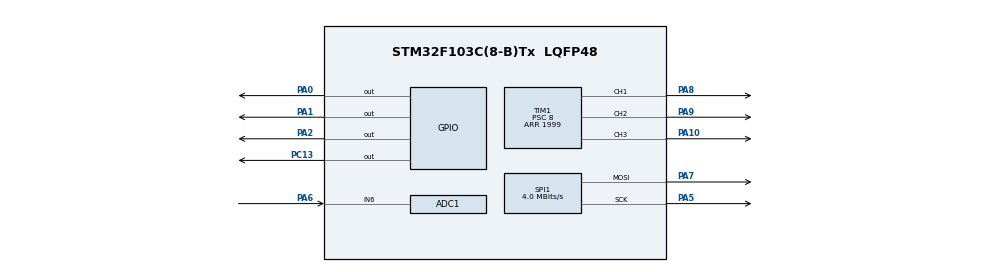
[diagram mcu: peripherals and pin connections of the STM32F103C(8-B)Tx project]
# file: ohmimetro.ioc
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ADC1.Channel-15\#ChannelRegularConversion=ADC_CHANNEL_6
ADC1.ContinuousConvMode=DISABLE
ADC1.DataAlign=ADC_DATAALIGN_RIGHT
ADC1.DiscontinuousConvMode=DISABLE
ADC1.EnableAnalogWatchDog=false
ADC1.EnableRegularConversion=ENABLE
ADC1.ExternalTrigConv=ADC_SOFTWARE_START
ADC1.InjNumberOfConversion=0
ADC1.NbrOfConversion=1
ADC1.NbrOfConversionFlag=1
ADC1.Rank-15\#ChannelRegularConversion=1
ADC1.SamplingTime-15\#ChannelRegularConversion=ADC_SAMPLETIME_1CYCLE_5
ADC1.ScanConvMode=ADC_SCAN_DISABLE
ADC1.master=1
Mcu.Family=STM32F1
Mcu.Name=STM32F103C(8-B)Tx
Mcu.Package=LQFP48
NVIC.PriorityGroup=NVIC_PRIORITYGROUP_4
PA0-WKUP.Signal=GPIO_Output
PA1.Signal=GPIO_Output
PA10.Signal=S_TIM1_CH3
PA13.Mode=Serial_Wire
PA13.Signal=SYS_JTMS-SWDIO
PA14.Mode=Serial_Wire
PA14.Signal=SYS_JTCK-SWCLK
PA2.Signal=GPIO_Output
PA5.Mode=TX_Only_Simplex_Unidirect_Master
PA5.Signal=SPI1_SCK
PA6.Signal=ADCx_IN6
PA7.Mode=TX_Only_Simplex_Unidirect_Master
PA7.Signal=SPI1_MOSI
PA8.Signal=S_TIM1_CH1
PA9.Signal=S_TIM1_CH2
PC13-TAMPER-RTC.Signal=GPIO_Output
PD0-OSC_IN.Mode=HSE-External-Oscillator
PD0-OSC_IN.Signal=RCC_OSC_IN
PD1-OSC_OUT.Mode=HSE-External-Oscillator
PD1-OSC_OUT.Signal=RCC_OSC_OUT
ProjectManager.HeapSize=0x200
ProjectManager.StackSize=0x400
ProjectManager.TargetToolchain=TrueSTUDIO
RCC.APB1Freq_Value=8000000
RCC.APB2Freq_Value=8000000
SH.ADCx_IN6.0=ADC1_IN6,IN6
SH.S_TIM1_CH1.0=TIM1_CH1,PWM Generation1 CH1
SH.S_TIM1_CH2.0=TIM1_CH2,PWM Generation2 CH2
SH.S_TIM1_CH3.0=TIM1_CH3,PWM Generation3 CH3
SPI1.CLKPhase=SPI_PHASE_2EDGE
SPI1.CLKPolarity=SPI_POLARITY_HIGH
SPI1.CalculateBaudRate=4.0 MBits/s
SPI1.Direction=SPI_DIRECTION_2LINES
SPI1.Mode=SPI_MODE_MASTER
SPI1.VirtualType=VM_MASTER
TIM1.Channel-PWM\ Generation1\ CH1=TIM_CHANNEL_1
TIM1.Channel-PWM\ Generation2\ CH2=TIM_CHANNEL_2
TIM1.Channel-PWM\ Generation3\ CH3=TIM_CHANNEL_3
TIM1.Period=1999
TIM1.Prescaler=8
board=ohmimetro

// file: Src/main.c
/**
  ******************************************************************************
  * File Name          : main.c
  * Description        : Main program body
  ******************************************************************************
  ** This notice applies to any and all portions of this file
  * that are not between comment pairs USER CODE BEGIN and
  * USER CODE END. Other portions of this file, whether
  * inserted by the user or by software development tools
  * are owned by their respective copyright owners.
  *
  * COPYRIGHT(c) 2017 STMicroelectronics
  *
  * Redistribution and use in source and binary forms, with or without modification,
  * are permitted provided that the following conditions are met:
  *   1. Redistributions of source code must retain the above copyright notice,
  *      this list of conditions and the following disclaimer.
  *   2. Redistributions in binary form must reproduce the above copyright notice,
  *      this list of conditions and the following disclaimer in the documentation
  *      and/or other materials provided with the distribution.
  *   3. Neither the name of STMicroelectronics nor the names of its contributors
  *      may be used to endorse or promote products derived from this software
  *      without specific prior written permission.
  *
  * THIS SOFTWARE IS PROVIDED BY THE COPYRIGHT HOLDERS AND CONTRIBUTORS "AS IS"
  * AND ANY EXPRESS OR IMPLIED WARRANTIES, INCLUDING, BUT NOT LIMITED TO, THE
  * IMPLIED WARRANTIES OF MERCHANTABILITY AND FITNESS FOR A PARTICULAR PURPOSE ARE
  * DISCLAIMED. IN NO EVENT SHALL THE COPYRIGHT HOLDER OR CONTRIBUTORS BE LIABLE
  * FOR ANY DIRECT, INDIRECT, INCIDENTAL, SPECIAL, EXEMPLARY, OR CONSEQUENTIAL
  * DAMAGES (INCLUDING, BUT NOT LIMITED TO, PROCUREMENT OF SUBSTITUTE GOODS OR
  * SERVICES; LOSS OF USE, DATA, OR PROFITS; OR BUSINESS INTERRUPTION) HOWEVER
  * CAUSED AND ON ANY THEORY OF LIABILITY, WHETHER IN CONTRACT, STRICT LIABILITY,
  * OR TORT (INCLUDING NEGLIGENCE OR OTHERWISE) ARISING IN ANY WAY OUT OF THE USE
  * OF THIS SOFTWARE, EVEN IF ADVISED OF THE POSSIBILITY OF SUCH DAMAGE.
  *
  ******************************************************************************
  */

#include "main.h"
#include "stm32f1xx_hal.h"
#include "adc.h"
#include "spi.h"
#include "tim.h"
#include "gpio.h"

/* USER CODE BEGIN Includes */
#include <OledChar.h>
#include <OledDriver.h>
#include <OledGrph.h>
#include <stdio.h>
#include <stdlib.h>
#include <string.h>
/* USER CODE END Includes */

/* USER CODE BEGIN PV */
/* Private variables ---------------------------------------------------------*/

/* USER CODE END PV */

void SystemClock_Config(void);

/* USER CODE BEGIN PFP */
/* Private function prototypes -----------------------------------------------*/

/* USER CODE END PFP */

/* USER CODE BEGIN 0 */
extern const char tabelaad[4096][5];
int R_fixa = 218;        // Resistência fixa do divisor de tensão
int leitura = 0;           // Armazena o valor lido pela entrada analógica (valor entre 0 e 4096)
int resultado = 0;
int Vx;
char string_r[20];
int duas_casas;
int tres_casas;
int quatro_casas;
/* USER CODE END 0 */

int main(void)
{

  /* MCU Configuration----------------------------------------------------------*/

  /* Reset of all peripherals, Initializes the Flash interface and the Systick. */
  HAL_Init();

  /* Configure the system clock */
  SystemClock_Config();

  /* Initialize all configured peripherals */
  MX_GPIO_Init();
  MX_SPI1_Init();
  MX_ADC1_Init();
  MX_TIM1_Init();

  /* USER CODE BEGIN 2 */
  OledInit();
  HAL_TIM_PWM_Start(&htim1, TIM_CHANNEL_1); // Inicializa os timers para geração da PWM nos pinos A8, A9, A10
  HAL_TIM_PWM_Start(&htim1, TIM_CHANNEL_2);
  HAL_TIM_PWM_Start(&htim1, TIM_CHANNEL_3);
  HAL_ADC_Start(&hadc1);

  /* USER CODE END 2 */

  /* Infinite loop */
  while (1)
  {

  /* USER CODE BEGIN 3 */

	  OledSetCursor(0,0);
	  leitura = HAL_ADC_GetValue(&hadc1); //pino A6
	  char tensao[4] = {tabelaad[leitura][0],tabelaad[leitura][1],tabelaad[leitura][2],tabelaad[leitura][3]};
	  Vx = atoi(tensao);
	  resultado = (int)(((3290*R_fixa)/Vx) - R_fixa);
	  duas_casas = (int)((((3290*R_fixa)/Vx) - R_fixa) -((((3290*R_fixa)/Vx) - R_fixa)*10/100));
	  tres_casas = (int)((((3290*R_fixa)/Vx) - R_fixa) -((((3290*R_fixa)/Vx) - R_fixa)*7/100));
	  quatro_casas = (int)((((3290*R_fixa)/Vx) - R_fixa) -((((3290*R_fixa)/Vx) + R_fixa)*20/100));
	  if (resultado >= 0){
		  OledPutString("Resistencia: ");
		  if (resultado > 0 & resultado < 100){
			  sprintf(string_r,"%d",resultado);
			  OledSetCursor(0,2);
			  OledPutString(string_r);
		  }
		  else if (resultado >= 100 & resultado < 1000){
			  sprintf(string_r,"%d",tres_casas);
			  OledSetCursor(0,2);
			  OledPutString(string_r);
		  }
		  else if (resultado >= 1000 & resultado < 10000){
			  sprintf(string_r,"%d",quatro_casas);
			  OledSetCursor(0,2);
			  OledPutString(string_r);
		  }
//		  sprintf(string_r,"%d",resultado);
//		  OledSetCursor(0,2);
//		  OledPutString(string_r);
		  OledPutString(" Ohms");
		 }

	  else
		  OledPutString("Circuito aberto");
	  if(resultado >=1100 & resultado <= 1300){
		  //__HAL_TIM_SetCompare(&htim1, TIM_CHANNEL_3, 200);]
		  _HAL_TIM_SET_COMPARE(&htim1, TIM_CHANNEL_3, 200);
		  HAL_Delay(5000);
	  }

//	  OledPutChar(tabelaad[leitura][0]);
//	  OledPutString(".");
//	  OledPutChar(tabelaad[leitura][1]);
//	  OledPutChar(tabelaad[leitura][2]);
//	  OledPutChar(tabelaad[leitura][3]);
	  HAL_Delay(2000);
	  OledClear();

  }
  /* USER CODE END 3 */

}

/** System Clock Configuration
*/
void SystemClock_Config(void)
{

  RCC_OscInitTypeDef RCC_OscInitStruct;
  RCC_ClkInitTypeDef RCC_ClkInitStruct;
  RCC_PeriphCLKInitTypeDef PeriphClkInit;

    /**Initializes the CPU, AHB and APB busses clocks
    */
  RCC_OscInitStruct.OscillatorType = RCC_OSCILLATORTYPE_HSI;
  RCC_OscInitStruct.HSIState = RCC_HSI_ON;
  RCC_OscInitStruct.HSICalibrationValue = 16;
  RCC_OscInitStruct.PLL.PLLState = RCC_PLL_NONE;
  if (HAL_RCC_OscConfig(&RCC_OscInitStruct) != HAL_OK)
  {
    _Error_Handler(__FILE__, __LINE__);
  }

    /**Initializes the CPU, AHB and APB busses clocks
    */
  RCC_ClkInitStruct.ClockType = RCC_CLOCKTYPE_HCLK|RCC_CLOCKTYPE_SYSCLK
                              |RCC_CLOCKTYPE_PCLK1|RCC_CLOCKTYPE_PCLK2;
  RCC_ClkInitStruct.SYSCLKSource = RCC_SYSCLKSOURCE_HSI;
  RCC_ClkInitStruct.AHBCLKDivider = RCC_SYSCLK_DIV1;
  RCC_ClkInitStruct.APB1CLKDivider = RCC_HCLK_DIV1;
  RCC_ClkInitStruct.APB2CLKDivider = RCC_HCLK_DIV1;

  if (HAL_RCC_ClockConfig(&RCC_ClkInitStruct, FLASH_LATENCY_0) != HAL_OK)
  {
    _Error_Handler(__FILE__, __LINE__);
  }

  PeriphClkInit.PeriphClockSelection = RCC_PERIPHCLK_ADC;
  PeriphClkInit.AdcClockSelection = RCC_ADCPCLK2_DIV2;
  if (HAL_RCCEx_PeriphCLKConfig(&PeriphClkInit) != HAL_OK)
  {
    _Error_Handler(__FILE__, __LINE__);
  }

    /**Configure the Systick interrupt time
    */
  HAL_SYSTICK_Config(HAL_RCC_GetHCLKFreq()/1000);

    /**Configure the Systick
    */
  HAL_SYSTICK_CLKSourceConfig(SYSTICK_CLKSOURCE_HCLK);

  /* SysTick_IRQn interrupt configuration */
  HAL_NVIC_SetPriority(SysTick_IRQn, 0, 0);
}

void _Error_Handler(char * file, int line)
{
  while(1)
  {
  }
}

/************************ (C) COPYRIGHT STMicroelectronics *****END OF FILE****/
